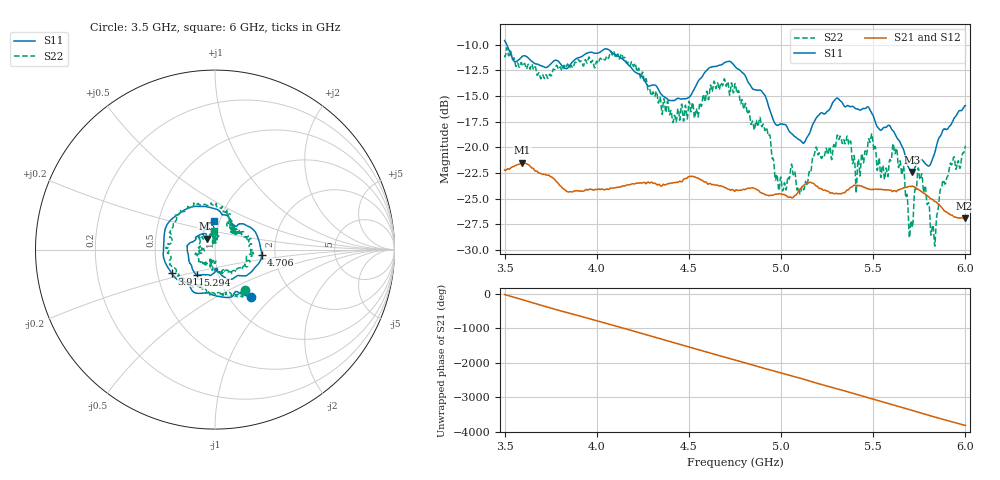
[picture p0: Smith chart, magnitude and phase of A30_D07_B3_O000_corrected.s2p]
! Created with skrf 1.9.0 (http://scikit-rf.org).
# Hz S RI R 50.0
!freq ReS11 ImS11 ReS21 ImS21 ReS12 ImS12 ReS22 ImS22
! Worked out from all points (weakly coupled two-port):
!   1601 points, 3.5 GHz to 6 GHz, reference 50 ohm
!   highest |S21| = -21.51 dB at 3.595 GHz (marker M1); lowest = -26.9 dB at 5.995 GHz (marker M2)
!   lowest |S11| = -22.4 dB at 5.713 GHz (marker M3), VSWR 1.16, Z = 45.3 + j5.47 ohm
!   |S11| at or under -10 dB: 3.512 GHz to end of sweep
!   |S22| runs from -29.6 to -10.3 dB; largest |S21 - S12| = 0.0009
!   S11 on the Smith chart (normalised r, x): 3.5 GHz: 1.26, -0.74; 3.911 GHz: 0.59, -0.17; 4.706 GHz: 1.70, -0.10; 5.294 GHz: 0.79, -0.23; 6 GHz: 0.94, +0.31
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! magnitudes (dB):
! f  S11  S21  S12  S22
! 3.5 GHz  -9.6  -22.2  -22.2  -11.1
! 3.595 GHz  -11.2  -21.5  -21.5  -12.0
! 3.911 GHz  -11.2  -24.2  -24.2  -11.7
! 3.917 GHz  -11.2  -24.3  -24.3  -11.6
! 4.142 GHz  -11.4  -23.8  -23.7  -11.3
! 4.334 GHz  -14.4  -23.6  -23.6  -15.7
! 4.422 GHz  -15.4  -23.4  -23.4  -16.9
! 4.706 GHz  -11.7  -24.0  -23.9  -13.8
! 4.75 GHz  -12.1  -24.3  -24.2  -13.8
! 4.93 GHz  -15.9  -24.7  -24.6  -18.8
! 4.998 GHz  -17.7  -24.5  -24.5  -22.9
! 5.167 GHz  -18.0  -23.5  -23.4  -21.5
! 5.294 GHz  -15.3  -24.5  -24.5  -20.1
! 5.486 GHz  -16.5  -24.1  -24.1  -19.3
! 5.584 GHz  -17.9  -24.2  -24.1  -22.0
! 5.619 GHz  -18.7  -24.2  -24.3  -20.6
! 5.713 GHz  -22.4  -23.8  -23.7  -27.8
! 5.753 GHz  -21.3  -24.2  -24.2  -23.1
! 5.827 GHz  -20.9  -25.2  -25.1  -27.8
! 5.873 GHz  -18.5  -25.9  -25.9  -23.7
! 5.995 GHz  -16.0  -26.9  -26.8  -20.2
! 6 GHz  -15.9  -26.9  -26.9  -19.9
